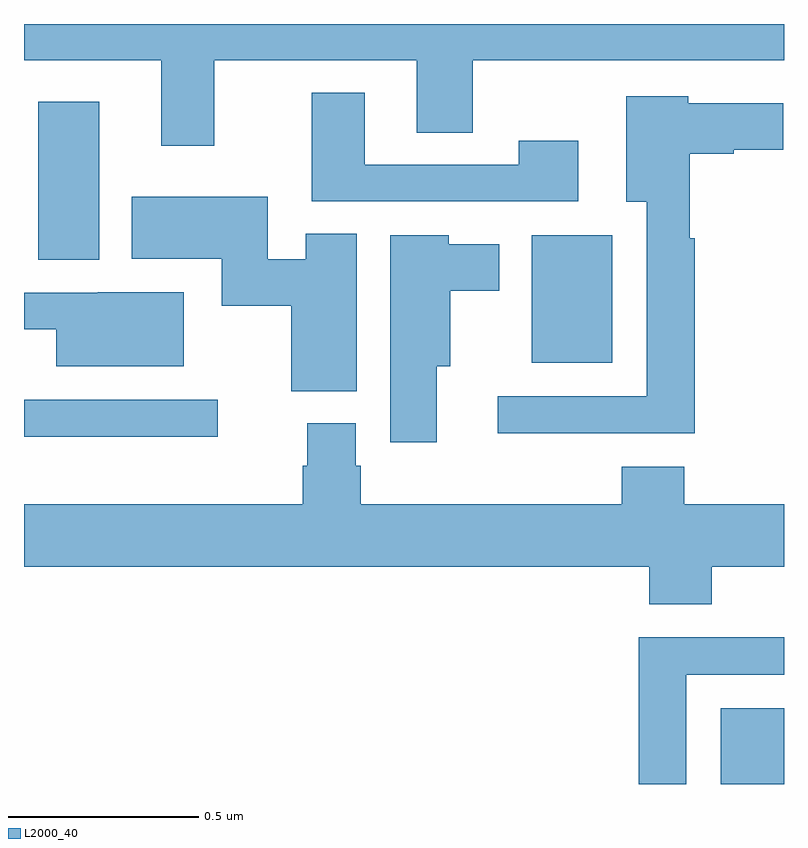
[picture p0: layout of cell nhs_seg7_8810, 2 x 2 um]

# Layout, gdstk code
import gdstk
lib = gdstk.Library(unit=1e-6, precision=1e-09)
def R(c, l, rs):  # rectangles x0, y0, x1, y1
    for r in rs: c.add(gdstk.rectangle(r[:2], r[2:], *l))
def P(c, l, *ps):  # polygons
    for p in ps: c.add(gdstk.Polygon(p, *l))
L2000_40 = (2000, 40)

nhs_seg7_8810 = lib.new_cell('nhs_seg7_8810')
R(nhs_seg7_8810, L2000_40, [(230.834,1044,231,1044.199), (229,1044.914,229.51,1045.011), (230.336,1045.109,230.548,1045.444), (229.037,1045.379,229.198,1045.795)])
P(nhs_seg7_8810, L2000_40, [(229.501,1045.904),(230.033,1045.904),(230.033,1045.714),(230.181,1045.714),(230.181,1045.904),(231,1045.904),(231,1046),(229,1046),(229,1045.904),(229.361,1045.904),(229.361,1045.68),(229.501,1045.68)],
  [(230.458,1045.693),(230.302,1045.693),(230.302,1045.629),(229.897,1045.629),(229.897,1045.819),(229.757,1045.819),(229.757,1045.533),(230.458,1045.533)],
  [(230.765,1045.436),(230.752,1045.436),(230.752,1045.658),(230.868,1045.658),(230.868,1045.669),(230.998,1045.669),(230.998,1045.792),(230.748,1045.792),(230.748,1045.81),(230.585,1045.81),(230.585,1045.532),(230.639,1045.532),(230.639,1045.02),(230.247,1045.02),(230.247,1044.923),(230.765,1044.923)],
  [(229.876,1045.448),(229.742,1045.448),(229.742,1045.381),(229.642,1045.381),(229.642,1045.546),(229.283,1045.546),(229.283,1045.382),(229.52,1045.382),(229.52,1045.259),(229.703,1045.259),(229.703,1045.034),(229.876,1045.034)],
  [(230.086,1045.1),(230.122,1045.1),(230.122,1045.298),(230.251,1045.298),(230.251,1045.42),(230.118,1045.42),(230.118,1045.444),(229.964,1045.444),(229.964,1044.9),(230.086,1044.9)],
  [(229.42,1045.294),(229.194,1045.294),(229.194,1045.293),(229,1045.293),(229,1045.197),(229.085,1045.197),(229.085,1045.1),(229.42,1045.1)],
  [(230.81,1044.572),(231,1044.572),(231,1044.736),(230.738,1044.736),(230.738,1044.835),(230.573,1044.835),(230.573,1044.736),(229.886,1044.736),(229.886,1044.837),(229.873,1044.837),(229.873,1044.949),(229.745,1044.949),(229.745,1044.837),(229.733,1044.837),(229.733,1044.736),(229,1044.736),(229,1044.572),(230.645,1044.572),(230.645,1044.473),(230.81,1044.473)],
  [(230.743,1044.288),(231,1044.288),(231,1044.386),(230.618,1044.386),(230.618,1044),(230.743,1044)])

lib.write_gds('nhs_seg7_8810.gds')
